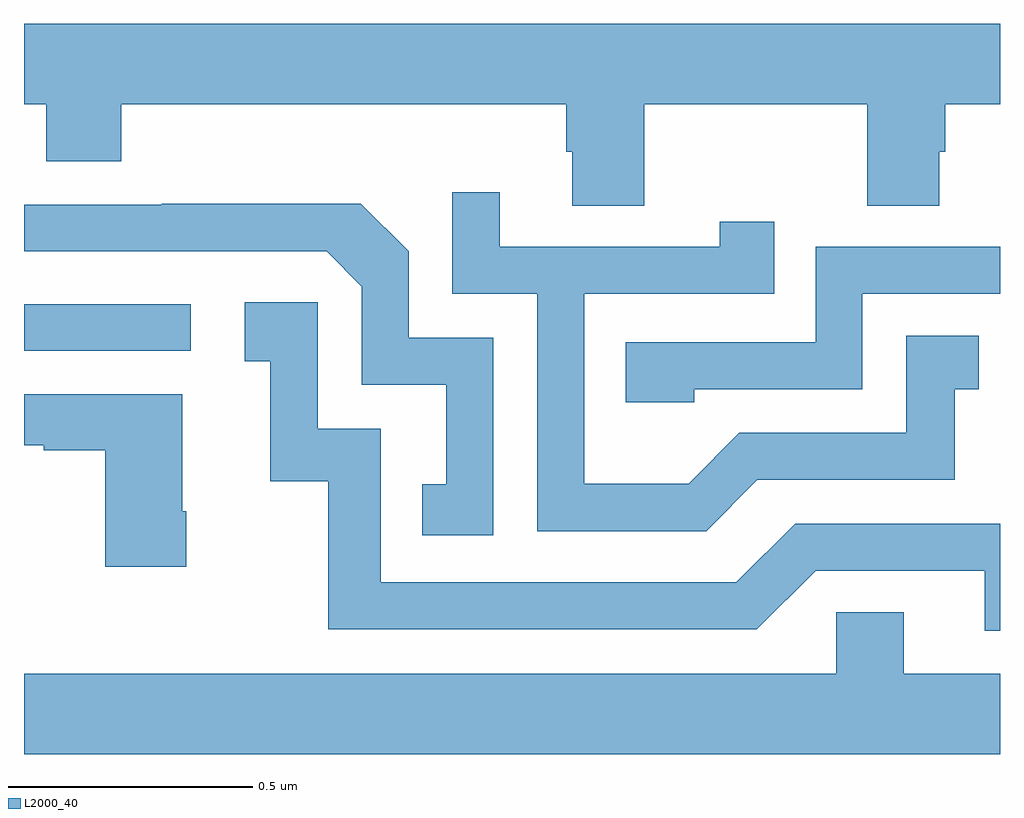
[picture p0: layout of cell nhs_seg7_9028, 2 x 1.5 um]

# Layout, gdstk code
import gdstk
lib = gdstk.Library(unit=1e-6, precision=1e-09)
def R(c, l, rs):  # rectangles x0, y0, x1, y1
    for r in rs: c.add(gdstk.rectangle(r[:2], r[2:], *l))
def P(c, l, *ps):  # polygons
    for p in ps: c.add(gdstk.Polygon(p, *l))
L2000_40 = (2000, 40)

nhs_seg7_9028 = lib.new_cell('nhs_seg7_9028')
R(nhs_seg7_9028, L2000_40, [(232,1036.074,232.342,1036.17)])
P(nhs_seg7_9028, L2000_40, [(233.271,1036.58),(233.728,1036.58),(233.728,1036.372),(233.875,1036.372),(233.875,1036.482),(233.888,1036.482),(233.888,1036.58),(234,1036.58),(234,1036.744),(232,1036.744),(232,1036.58),(232.046,1036.58),(232.046,1036.463),(232.199,1036.463),(232.199,1036.58),(233.111,1036.58),(233.111,1036.482),(233.123,1036.482),(233.123,1036.372),(233.271,1036.372)],
  [(233.503,1035.81),(233.907,1035.81),(233.907,1035.995),(233.956,1035.995),(233.956,1036.105),(233.808,1036.105),(233.808,1035.906),(233.466,1035.906),(233.362,1035.802),(233.148,1035.802),(233.148,1036.191),(233.537,1036.191),(233.537,1036.339),(233.426,1036.339),(233.426,1036.287),(232.975,1036.287),(232.975,1036.399),(232.878,1036.399),(232.878,1036.191),(233.052,1036.191),(233.052,1035.705),(233.398,1035.705)],
  [(232.962,1036.101),(232.788,1036.101),(232.788,1036.278),(232.69,1036.376),(232.282,1036.376),(232.282,1036.374),(232,1036.374),(232,1036.278),(232.62,1036.278),(232.692,1036.206),(232.692,1036.005),(232.865,1036.005),(232.865,1035.801),(232.816,1035.801),(232.816,1035.696),(232.962,1035.696)],
  [(233.373,1035.996),(233.718,1035.996),(233.718,1036.191),(234,1036.191),(234,1036.287),(233.622,1036.287),(233.622,1036.092),(233.233,1036.092),(233.233,1035.969),(233.373,1035.969)],
  [(234,1035.72),(233.58,1035.72),(233.46,1035.6),(232.731,1035.6),(232.731,1035.915),(232.602,1035.915),(232.602,1036.174),(232.452,1036.174),(232.452,1036.053),(232.505,1036.053),(232.505,1035.807),(232.623,1035.807),(232.623,1035.504),(233.502,1035.504),(233.622,1035.624),(233.969,1035.624),(233.969,1035.501),(234,1035.501)],
  [(232.332,1035.745),(232.324,1035.745),(232.324,1035.985),(232,1035.985),(232,1035.881),(232.04,1035.881),(232.04,1035.871),(232.166,1035.871),(232.166,1035.632),(232.332,1035.632)],
  [(234,1035.412),(233.803,1035.412),(233.803,1035.539),(233.664,1035.539),(233.664,1035.412),(232,1035.412),(232,1035.248),(234,1035.248)])

lib.write_gds('nhs_seg7_9028.gds')
